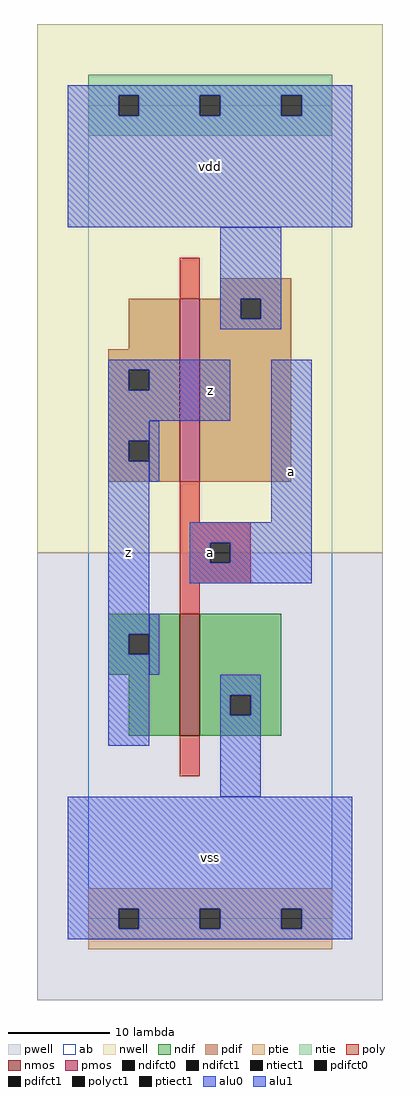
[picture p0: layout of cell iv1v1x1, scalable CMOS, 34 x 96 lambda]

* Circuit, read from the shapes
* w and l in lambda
.subckt iv1v1x1 a vdd vss z
M1 vss a z vss nfet w=12 l=2
M2 vdd a z vdd pfet w=18 l=2
.ends

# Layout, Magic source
magic
tech scmos
<< ab >>
rect 0 0 24 80
<< nwell >>
rect -5 36 29 88
<< pwell >>
rect -5 -8 29 36
<< poly >>
rect 9 61 11 65
rect 9 39 11 43
rect 9 37 16 39
rect 9 35 12 37
rect 14 35 16 37
rect 9 33 16 35
rect 9 30 11 33
rect 9 14 11 18
<< ndif >>
rect 2 28 9 30
rect 2 26 4 28
rect 6 26 9 28
rect 2 24 9 26
rect 4 18 9 24
rect 11 22 19 30
rect 11 20 14 22
rect 16 20 19 22
rect 11 18 19 20
<< pdif >>
rect 13 61 20 63
rect 4 56 9 61
rect 2 54 9 56
rect 2 52 4 54
rect 6 52 9 54
rect 2 47 9 52
rect 2 45 4 47
rect 6 45 9 47
rect 2 43 9 45
rect 11 59 15 61
rect 17 59 20 61
rect 11 43 20 59
<< alu1 >>
rect -2 81 26 82
rect -2 79 3 81
rect 5 79 11 81
rect 13 79 19 81
rect 21 79 26 81
rect -2 68 26 79
rect 2 54 14 55
rect 2 52 4 54
rect 6 52 14 54
rect 2 49 14 52
rect 2 47 6 49
rect 2 45 4 47
rect 2 28 6 45
rect 18 39 22 55
rect 10 37 22 39
rect 10 35 12 37
rect 14 35 22 37
rect 10 33 22 35
rect 2 26 4 28
rect 2 17 6 26
rect -2 1 26 12
rect -2 -1 3 1
rect 5 -1 11 1
rect 13 -1 19 1
rect 21 -1 26 1
rect -2 -2 26 -1
<< ptie >>
rect 0 1 24 3
rect 0 -1 3 1
rect 5 -1 11 1
rect 13 -1 19 1
rect 21 -1 24 1
rect 0 -3 24 -1
<< ntie >>
rect 0 81 24 83
rect 0 79 3 81
rect 5 79 11 81
rect 13 79 19 81
rect 21 79 24 81
rect 0 77 24 79
<< nmos >>
rect 9 18 11 30
<< pmos >>
rect 9 43 11 61
<< polyct1 >>
rect 12 35 14 37
<< ndifct0 >>
rect 14 20 16 22
<< ndifct1 >>
rect 4 26 6 28
<< ntiect1 >>
rect 3 79 5 81
rect 11 79 13 81
rect 19 79 21 81
<< ptiect1 >>
rect 3 -1 5 1
rect 11 -1 13 1
rect 19 -1 21 1
<< pdifct0 >>
rect 15 59 17 61
<< pdifct1 >>
rect 4 52 6 54
rect 4 45 6 47
<< alu0 >>
rect 13 61 19 68
rect 13 59 15 61
rect 17 59 19 61
rect 13 58 19 59
rect 6 43 7 49
rect 6 24 7 30
rect 13 22 17 24
rect 13 20 14 22
rect 16 20 17 22
rect 13 12 17 20
<< labels >>
rlabel alu1 4 36 4 36 6 z
rlabel alu1 12 6 12 6 6 vss
rlabel alu1 12 36 12 36 6 a
rlabel alu1 12 52 12 52 6 z
rlabel alu1 12 74 12 74 6 vdd
rlabel alu1 20 44 20 44 6 a
<< end >>
